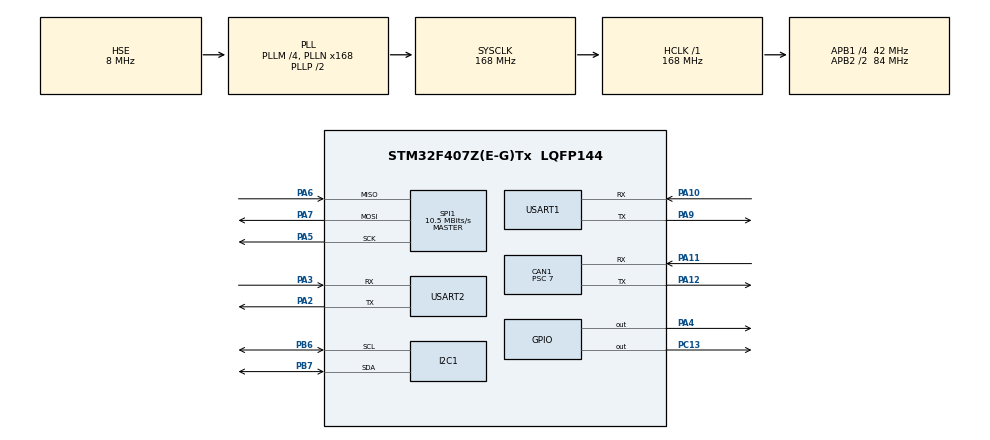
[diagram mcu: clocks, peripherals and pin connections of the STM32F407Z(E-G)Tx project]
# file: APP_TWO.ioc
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CAN1.BS1=CAN_BS1_8TQ
CAN1.BS2=CAN_BS2_3TQ
CAN1.CalculateBaudRate=499999
CAN1.CalculateTimeBit=2000
CAN1.CalculateTimeQuantum=166.66666666666669
CAN1.Prescaler=7
Dma.I2C1_TX.4.Direction=DMA_MEMORY_TO_PERIPH
Dma.I2C1_TX.4.FIFOMode=DMA_FIFOMODE_DISABLE
Dma.I2C1_TX.4.Instance=DMA1_Stream6
Dma.I2C1_TX.4.MemDataAlignment=DMA_MDATAALIGN_BYTE
Dma.I2C1_TX.4.MemInc=DMA_MINC_ENABLE
Dma.I2C1_TX.4.Mode=DMA_NORMAL
Dma.I2C1_TX.4.PeriphDataAlignment=DMA_PDATAALIGN_BYTE
Dma.I2C1_TX.4.PeriphInc=DMA_PINC_DISABLE
Dma.I2C1_TX.4.Priority=DMA_PRIORITY_LOW
Dma.Request0=USART1_RX
Dma.Request1=USART2_RX
Dma.Request2=SPI1_TX
Dma.Request3=SPI1_RX
Dma.Request4=I2C1_TX
Dma.SPI1_RX.3.Direction=DMA_PERIPH_TO_MEMORY
Dma.SPI1_RX.3.FIFOMode=DMA_FIFOMODE_DISABLE
Dma.SPI1_RX.3.Instance=DMA2_Stream0
Dma.SPI1_RX.3.MemDataAlignment=DMA_MDATAALIGN_BYTE
Dma.SPI1_RX.3.MemInc=DMA_MINC_ENABLE
Dma.SPI1_RX.3.Mode=DMA_NORMAL
Dma.SPI1_RX.3.PeriphDataAlignment=DMA_PDATAALIGN_BYTE
Dma.SPI1_RX.3.PeriphInc=DMA_PINC_DISABLE
Dma.SPI1_RX.3.Priority=DMA_PRIORITY_LOW
Dma.SPI1_TX.2.Direction=DMA_MEMORY_TO_PERIPH
Dma.SPI1_TX.2.FIFOMode=DMA_FIFOMODE_DISABLE
Dma.SPI1_TX.2.Instance=DMA2_Stream3
Dma.SPI1_TX.2.MemDataAlignment=DMA_MDATAALIGN_BYTE
Dma.SPI1_TX.2.MemInc=DMA_MINC_ENABLE
Dma.SPI1_TX.2.Mode=DMA_NORMAL
Dma.SPI1_TX.2.PeriphDataAlignment=DMA_PDATAALIGN_BYTE
Dma.SPI1_TX.2.PeriphInc=DMA_PINC_DISABLE
Dma.SPI1_TX.2.Priority=DMA_PRIORITY_MEDIUM
Dma.USART1_RX.0.Direction=DMA_PERIPH_TO_MEMORY
Dma.USART1_RX.0.FIFOMode=DMA_FIFOMODE_DISABLE
Dma.USART1_RX.0.Instance=DMA2_Stream2
Dma.USART1_RX.0.MemDataAlignment=DMA_MDATAALIGN_BYTE
Dma.USART1_RX.0.MemInc=DMA_MINC_ENABLE
Dma.USART1_RX.0.Mode=DMA_NORMAL
Dma.USART1_RX.0.PeriphDataAlignment=DMA_PDATAALIGN_BYTE
Dma.USART1_RX.0.PeriphInc=DMA_PINC_DISABLE
Dma.USART1_RX.0.Priority=DMA_PRIORITY_HIGH
Dma.USART2_RX.1.Direction=DMA_PERIPH_TO_MEMORY
Dma.USART2_RX.1.FIFOMode=DMA_FIFOMODE_DISABLE
Dma.USART2_RX.1.Instance=DMA1_Stream5
Dma.USART2_RX.1.MemDataAlignment=DMA_MDATAALIGN_BYTE
Dma.USART2_RX.1.MemInc=DMA_MINC_ENABLE
Dma.USART2_RX.1.Mode=DMA_NORMAL
Dma.USART2_RX.1.PeriphDataAlignment=DMA_PDATAALIGN_BYTE
Dma.USART2_RX.1.PeriphInc=DMA_PINC_DISABLE
Dma.USART2_RX.1.Priority=DMA_PRIORITY_LOW
FREERTOS.Tasks01=defaultTask,24,128,StartDefaultTask,Default,NULL,Dynamic,NULL,NULL
I2C1.I2C_Mode=I2C_Standard
Mcu.Family=STM32F4
Mcu.Name=STM32F407Z(E-G)Tx
Mcu.Package=LQFP144
NVIC.CAN1_RX0_IRQn=true\:5\:0\:false\:false\:true\:true\:true\:true\:true
NVIC.CAN1_SCE_IRQn=true\:5\:0\:false\:false\:true\:true\:true\:true\:true
NVIC.DMA1_Stream5_IRQn=true\:5\:0\:false\:false\:true\:true\:false\:true\:true
NVIC.DMA1_Stream6_IRQn=true\:5\:0\:false\:false\:true\:true\:false\:true\:true
NVIC.DMA2_Stream0_IRQn=true\:5\:0\:false\:false\:true\:true\:false\:true\:true
NVIC.DMA2_Stream2_IRQn=true\:5\:0\:false\:false\:true\:true\:false\:true\:true
NVIC.DMA2_Stream3_IRQn=true\:5\:0\:false\:false\:true\:true\:false\:true\:true
NVIC.PriorityGroup=NVIC_PRIORITYGROUP_4
NVIC.SPI1_IRQn=true\:5\:0\:false\:false\:true\:true\:true\:true\:true
NVIC.TIM6_DAC_IRQn=true\:15\:0\:false\:false\:true\:false\:false\:true\:true
NVIC.TimeBase=TIM6_DAC_IRQn
NVIC.TimeBaseIP=TIM6
NVIC.USART1_IRQn=true\:5\:0\:false\:false\:true\:true\:true\:true\:true
NVIC.USART2_IRQn=true\:5\:0\:false\:false\:true\:true\:true\:true\:true
PA10.Mode=Asynchronous
PA10.Signal=USART1_RX
PA11.Mode=CAN_Activate
PA11.Signal=CAN1_RX
PA12.Mode=CAN_Activate
PA12.Signal=CAN1_TX
PA13.Mode=Serial_Wire
PA13.Signal=SYS_JTMS-SWDIO
PA14.Mode=Serial_Wire
PA14.Signal=SYS_JTCK-SWCLK
PA2.Mode=Asynchronous
PA2.Signal=USART2_TX
PA3.Mode=Asynchronous
PA3.Signal=USART2_RX
PA4.Signal=GPIO_Output
PA5.Mode=Full_Duplex_Master
PA5.Signal=SPI1_SCK
PA6.Mode=Full_Duplex_Master
PA6.Signal=SPI1_MISO
PA7.Mode=Full_Duplex_Master
PA7.Signal=SPI1_MOSI
PA9.Mode=Asynchronous
PA9.Signal=USART1_TX
PB6.Mode=I2C
PB6.Signal=I2C1_SCL
PB7.Mode=I2C
PB7.Signal=I2C1_SDA
PC13-ANTI_TAMP.Signal=GPIO_Output
PC14-OSC32_IN.Mode=LSE-External-Oscillator
PC14-OSC32_IN.Signal=RCC_OSC32_IN
PC15-OSC32_OUT.Mode=LSE-External-Oscillator
PC15-OSC32_OUT.Signal=RCC_OSC32_OUT
PH0-OSC_IN.Mode=HSE-External-Oscillator
PH0-OSC_IN.Signal=RCC_OSC_IN
PH1-OSC_OUT.Mode=HSE-External-Oscillator
PH1-OSC_OUT.Signal=RCC_OSC_OUT
ProjectManager.HeapSize=0x200
ProjectManager.StackSize=0x400
ProjectManager.TargetToolchain=MDK-ARM V5.32
RCC.48MHZClocksFreq_Value=84000000
RCC.AHBFreq_Value=168000000
RCC.APB1CLKDivider=RCC_HCLK_DIV4
RCC.APB1Freq_Value=42000000
RCC.APB1TimFreq_Value=84000000
RCC.APB2CLKDivider=RCC_HCLK_DIV2
RCC.APB2Freq_Value=84000000
RCC.APB2TimFreq_Value=168000000
RCC.CortexFreq_Value=168000000
RCC.HCLKFreq_Value=168000000
RCC.HSE_VALUE=8000000
RCC.HSI_VALUE=16000000
RCC.PLLM=4
RCC.PLLN=168
RCC.PLLSourceVirtual=RCC_PLLSOURCE_HSE
RCC.SYSCLKFreq_VALUE=168000000
RCC.SYSCLKSource=RCC_SYSCLKSOURCE_PLLCLK
RCC.VCOOutputFreq_Value=336000000
SPI1.BaudRatePrescaler=SPI_BAUDRATEPRESCALER_8
SPI1.CalculateBaudRate=10.5 MBits/s
SPI1.Direction=SPI_DIRECTION_2LINES
SPI1.Mode=SPI_MODE_MASTER
SPI1.VirtualType=VM_MASTER
USART1.VirtualMode=VM_ASYNC
USART2.VirtualMode=VM_ASYNC
VP_CRC_VS_CRC.Mode=CRC_Activate
VP_FREERTOS_VS_CMSIS_V2.Mode=CMSIS_V2
VP_SYS_VS_tim6.Mode=TIM6
board=custom

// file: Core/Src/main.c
/* USER CODE BEGIN Header */
/**
  ******************************************************************************
  * @file           : main.c
  * @brief          : Main program body
  ******************************************************************************
  * @attention
  *
  * Copyright (c) 2026 STMicroelectronics.
  * All rights reserved.
  *
  * This software is licensed under terms that can be found in the LICENSE file
  * in the root directory of this software component.
  * If no LICENSE file comes with this software, it is provided AS-IS.
  *
  ******************************************************************************
  */
/* USER CODE END Header */
#include "main.h"
#include "cmsis_os.h"
#include "can.h"
#include "crc.h"
#include "dma.h"
#include "i2c.h"
#include "spi.h"
#include "usart.h"
#include "gpio.h"

/* USER CODE BEGIN Includes */
#include "FreeRTOS.h"
#include "task.h"
#include "uart.h"
#include "W25Q64.h"
#include "can_task.h"

/* USER CODE END Includes */

/* USER CODE BEGIN PTD */
extern TaskHandle_t Uart_TaskHandle;
extern TaskHandle_t SPI_TaskHandle;
extern volatile uint8_t uart_flag;
extern volatile uint8_t uart_error_flag;
extern uint8_t uart_data[Uart_FW_buffer];
volatile uint8_t ota_state = 0;
// uint32_t aaa = 0x345678;
// int32_t temp = 0;
/* USER CODE END PTD */

/* USER CODE BEGIN PD */

void HAL_UART_RxCpltCallback(UART_HandleTypeDef *huart)
{
  if(huart->Instance == USART1)
  {
    if(ota_state == OTA_STATE_IDLE)
    {
      uart_flag = 1U;
    }
    else
    {
      BaseType_t xHigherPriorityTaskWoken = pdFALSE;

      OTA_UART_RxCpltFromISR(&xHigherPriorityTaskWoken);

      portYIELD_FROM_ISR(xHigherPriorityTaskWoken);
    }
  }
}

void HAL_SPI_TxCpltCallback(SPI_HandleTypeDef *hspi)
{
     if(hspi->Instance == SPI1){
	 BaseType_t xHigherPriorityTaskWoken = pdFALSE;
     xTaskNotifyFromISR(SPI_TaskHandle,SPI_DMA_BIT,eSetBits,&xHigherPriorityTaskWoken);// 写入w25q通知
     portYIELD_FROM_ISR(xHigherPriorityTaskWoken);
	 }
}

void HAL_SPI_ErrorCallback(SPI_HandleTypeDef *hspi)
{
    if((hspi->Instance == SPI1) && (SPI_TaskHandle != NULL))
    {
        BaseType_t xHigherPriorityTaskWoken = pdFALSE;

        xTaskNotifyFromISR(SPI_TaskHandle,SPI_DMA_ERROR_BIT,eSetBits,&xHigherPriorityTaskWoken);

        portYIELD_FROM_ISR(xHigherPriorityTaskWoken);
    }
}

void System_Init(void)
{
	HAL_UART_Init(&huart1);
	HAL_SPI_Init(&hspi1);
	HAL_CRC_Init(&hcrc);
	if(Can_Config() == 0U){
		Error_Handler();
	}
	uart_flag = 0;
	if(OTA_StartHeaderReceive() == 0U){
		Error_Handler();
	}
}

void HAL_UART_ErrorCallback(UART_HandleTypeDef *huart)
{
  if(huart->Instance == USART1){
	  if(ota_state == OTA_STATE_IDLE){
		uart_error_flag = 1U;
	  }else if(Uart_TaskHandle != NULL){
		BaseType_t xHigherPriorityTaskWoken = pdFALSE;
		xTaskNotifyFromISR(Uart_TaskHandle,
		                   UART_ERROR_BIT,
		                   eSetBits,
		                   &xHigherPriorityTaskWoken);
		portYIELD_FROM_ISR(xHigherPriorityTaskWoken);
	  }
  }
}

/* USER CODE END PD */

void SystemClock_Config(void);
void MX_FREERTOS_Init(void);

int main(void)
{

  /* USER CODE BEGIN 1 */
    SCB->VTOR |= 0x00010000;
	__enable_irq();
  /* USER CODE END 1 */

  /* MCU Configuration--------------------------------------------------------*/

  /* Reset of all peripherals, Initializes the Flash interface and the Systick. */
  HAL_Init();

  /* Configure the system clock */
  SystemClock_Config();

  /* Initialize all configured peripherals */
  MX_GPIO_Init();
  MX_DMA_Init();
  MX_CAN1_Init();
  MX_USART1_UART_Init();
  MX_USART2_UART_Init();
  MX_SPI1_Init();
  MX_I2C1_Init();
  MX_CRC_Init();
  /* USER CODE BEGIN 2 */
  // HAL_GPIO_WritePin(GPIOC,GPIO_PIN_13,GPIO_PIN_RESET);
  System_Init();
 // temp = HAL_CRC_Calculate(&hcrc,&aaa, 1);
  /* USER CODE END 2 */

  /* Init scheduler */
  osKernelInitialize();  /* Call init function for freertos objects (in cmsis_os2.c) */
  MX_FREERTOS_Init();

  /* Start scheduler */
  osKernelStart();

  /* We should never get here as control is now taken by the scheduler */

  /* Infinite loop */
  while (1)
  {

  }
}

void SystemClock_Config(void)
{
  RCC_OscInitTypeDef RCC_OscInitStruct = {0};
  RCC_ClkInitTypeDef RCC_ClkInitStruct = {0};

  /** Configure the main internal regulator output voltage
  */
  __HAL_RCC_PWR_CLK_ENABLE();
  __HAL_PWR_VOLTAGESCALING_CONFIG(PWR_REGULATOR_VOLTAGE_SCALE1);

  /** Initializes the RCC Oscillators according to the specified parameters
  * in the RCC_OscInitTypeDef structure.
  */
  RCC_OscInitStruct.OscillatorType = RCC_OSCILLATORTYPE_HSE;
  RCC_OscInitStruct.HSEState = RCC_HSE_ON;
  RCC_OscInitStruct.PLL.PLLState = RCC_PLL_ON;
  RCC_OscInitStruct.PLL.PLLSource = RCC_PLLSOURCE_HSE;
  RCC_OscInitStruct.PLL.PLLM = 4;
  RCC_OscInitStruct.PLL.PLLN = 168;
  RCC_OscInitStruct.PLL.PLLP = RCC_PLLP_DIV2;
  RCC_OscInitStruct.PLL.PLLQ = 4;
  if (HAL_RCC_OscConfig(&RCC_OscInitStruct) != HAL_OK)
  {
    Error_Handler();
  }

  /** Initializes the CPU, AHB and APB buses clocks
  */
  RCC_ClkInitStruct.ClockType = RCC_CLOCKTYPE_HCLK|RCC_CLOCKTYPE_SYSCLK
                              |RCC_CLOCKTYPE_PCLK1|RCC_CLOCKTYPE_PCLK2;
  RCC_ClkInitStruct.SYSCLKSource = RCC_SYSCLKSOURCE_PLLCLK;
  RCC_ClkInitStruct.AHBCLKDivider = RCC_SYSCLK_DIV1;
  RCC_ClkInitStruct.APB1CLKDivider = RCC_HCLK_DIV4;
  RCC_ClkInitStruct.APB2CLKDivider = RCC_HCLK_DIV2;

  if (HAL_RCC_ClockConfig(&RCC_ClkInitStruct, FLASH_LATENCY_5) != HAL_OK)
  {
    Error_Handler();
  }
}

void HAL_TIM_PeriodElapsedCallback(TIM_HandleTypeDef *htim)
{
  if (htim->Instance == TIM6)
  {
    HAL_IncTick();
  }
}

void Error_Handler(void)
{
  __disable_irq();
  while (1)
  {
  }
}

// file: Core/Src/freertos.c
/* USER CODE BEGIN Header */
/**
  ******************************************************************************
  * File Name          : freertos.c
  * Description        : Code for freertos applications
  ******************************************************************************
  * @attention
  *
  * Copyright (c) 2026 STMicroelectronics.
  * All rights reserved.
  *
  * This software is licensed under terms that can be found in the LICENSE file
  * in the root directory of this software component.
  * If no LICENSE file comes with this software, it is provided AS-IS.
  *
  ******************************************************************************
  */
/* USER CODE END Header */

#include "FreeRTOS.h"
#include "task.h"
#include "main.h"
#include "cmsis_os.h"

/* USER CODE BEGIN Includes */
#include "uart.h"
#include "W25Q64.h"
#include "can_task.h"
#include "OneNet.h"
/* USER CODE END Includes */

/* USER CODE BEGIN PTD */

extern TaskHandle_t Uart_TaskHandle ;
extern TaskHandle_t SPI_TaskHandle ;
extern uint8_t ret;
/* USER CODE END PTD */

/* USER CODE BEGIN PD */

void LED(void *arg)
{
	while(1){
//		if(ret == !HAL_OK){
//		HAL_GPIO_WritePin(GPIOC,GPIO_PIN_13,GPIO_PIN_RESET);
//	vTaskDelay(100);
//	HAL_GPIO_WritePin(GPIOC,GPIO_PIN_13,GPIO_PIN_SET);
//	vTaskDelay(100);
//		}else{
	HAL_GPIO_WritePin(GPIOC,GPIO_PIN_13,GPIO_PIN_RESET);
	vTaskDelay(500);
	HAL_GPIO_WritePin(GPIOC,GPIO_PIN_13,GPIO_PIN_SET);
	vTaskDelay(500);

	}
}
/* USER CODE END PD */

/* Definitions for defaultTask */
osThreadId_t defaultTaskHandle;
const osThreadAttr_t defaultTask_attributes = {
  .name = "defaultTask",
  .stack_size = 128 * 4,
  .priority = (osPriority_t) osPriorityNormal,
};

void StartDefaultTask(void *argument);

void MX_FREERTOS_Init(void); /* (MISRA C 2004 rule 8.1) */

void MX_FREERTOS_Init(void) {

  /* Create the thread(s) */
  /* creation of defaultTask */
  defaultTaskHandle = osThreadNew(StartDefaultTask, NULL, &defaultTask_attributes);

  /* USER CODE BEGIN RTOS_THREADS */
  xTaskCreate(W25Q_WritrBINTask,"WriteBINTask",256,NULL,osPriorityBelowNormal,&SPI_TaskHandle);
  xTaskCreate(OTA_Receive_Task,"OTA",128,NULL,osPriorityBelowNormal + 2,&Uart_TaskHandle);
  xTaskCreate(LED,"Task1",128,NULL,osPriorityLow7,NULL);// 呼吸灯任务，优先级最低，测试所有任务是否均被调度
  if(Can_Task_Init(osPriorityBelowNormal + 1, osPriorityBelowNormal) != pdPASS){
    Error_Handler();
  }
  if(OneNet_Task_Init(ONENET_TASK_PRIORITY) != pdPASS){
    Error_Handler();
  }
  /* USER CODE END RTOS_THREADS */

}

void StartDefaultTask(void *argument)
{
  /* USER CODE BEGIN StartDefaultTask */
	uint8_t confirm_retry;

	// 给各任务一次调度机会后确认新 APP。
	// 最多重试 3 次；始终失败时不伪造确认，下次复位由 Bootloader 回滚。
	for (confirm_retry = 0U; confirm_retry < 3U; confirm_retry++)
	{
		osDelay(1000U);
		if (OTA_ConfirmRunningImage() != 0U)
		{
			break;
		}
	}

  /* Infinite loop */
  for(;;)
  {
    osDelay(1);
  }
  /* USER CODE END StartDefaultTask */
}
